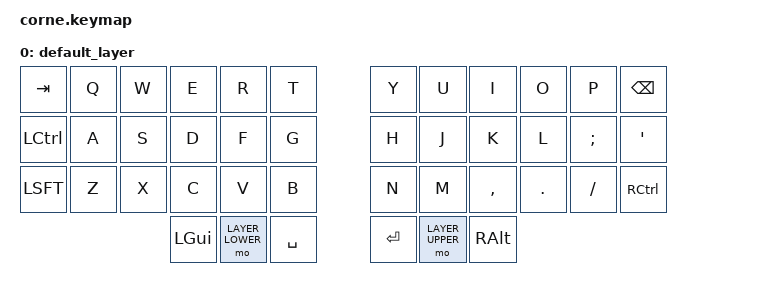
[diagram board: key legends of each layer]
#define DEFAULT 0
#define LAYER_LOWER 1
#define LAYER_UPPER 2

#include <behaviors.dtsi>
#include <dt-bindings/zmk/keys.h>

/ {
	keymap {
		compatible = "zmk,keymap";
// ---------------------------------------------------------------------------------------------------------------------------------
// |  TAB  |  Q  |  W  |  E   |  R   |  T   |   	|  Y   |  U   |  I    |  O   |   P   | BKSP |
// |  CTRL |  A  |  S  |  D   |  F   |  G   |   	|  H   |  J   |  K    |  L   |   ;   |   '  |
// | SHIFT |  Z  |  X  |  C   |  V   |  B   |   	|  N   |  M   |  ,    |  .   |   /   | CTRL |
//                     | GUI  |*lower| SPC  |   	| RET  |*raise| R-ALT |
		default_layer {

			bindings = <
	&kp TAB   &kp Q &kp W &kp E &kp R &kp T     &kp Y &kp U  &kp I    &kp O   &kp P    &kp BKSP
	&kp LCTL &kp A &kp S &kp D &kp F &kp G     &kp H &kp J  &kp K    &kp L   &kp SCLN &kp QUOT
	&kp LSFT  &kp Z &kp X &kp C &kp V &kp B     &kp N &kp M  &kp CMMA &kp DOT &kp FSLH &kp RCTL
	             &kp LGUI &mo LAYER_LOWER &kp SPC     &kp RET &mo LAYER_UPPER &kp RALT
			>;
		};
	};

		lower_layer {
// ---------------------------------------------------------------------------------------------------------------------------------
// |  ESC  |  1  |  2  |  3   |  4   |  5   |   	|  6   |  7    |  8    |  9   |   0   | BKSP |
// |  CTRL |     |     |      |      |      |   	| LEFT | DOWN  |  UP   |RIGHT |       |      |
// | SHIFT |     |     |      |      |      |   	|      |       |       |      |       |      |
//                     | GUI  |      | SPC  |   	| RET  |       | R-ALT |
			bindings = <
	&kp TAB   &kp NUM_1 &kp NUM_2 &kp NUM_3 &kp NUM_4 &kp NUM_5        &kp NUM_6 &kp NUM_7 &kp NUM_8   &kp NUM_9  &kp NUM_0 &kp BKSP
	&kp LCTL &trans    &trans    &trans    &trans    &trans           &kp LARW  &kp DARW  &kp UARW    &kp RARW   &trans    &trans
	&kp LSFT  &trans    &trans    &trans    &trans    &trans           &trans    &trans    &trans      &trans     &trans    &trans
	                                  &kp LGUI &trans &kp SPC          &kp RET &trans &kp RALT
			>;
		};

		upper_layer {
// ---------------------------------------------------------------------------------------------------------------------------------
// |  TAB  |  !  |  @  |  #   |  $   |  %   |   	|  ^   |  &    |  *    |  (   |   )   | BKSP |
// |  CTRL |     |     |      |      |      |   	|  -   |  =    |  {    |  }   |   |   |   `  |
// | SHIFT |     |     |      |      |      |   	|  _   |  +    |  [    |  ]   |   \   |   ~  |
//                     | GUI  |      | SPC  |   	| RET  |       | R-ALT |
			bindings = <
	&kp TAB   &kp Q &kp W &kp E &kp R &kp T  &kp Y &kp U  &kp I    &kp O   &kp P    &kp BKSP
	&kp LCTL &kp A &kp S &kp D &kp F &kp G  &kp H &kp J  &kp K    &kp L   &kp SCLN &kp QUOT
	&kp LSFT  &kp Z &kp X &kp C &kp V &kp B  &kp N &kp M  &kp CMMA &kp DOT &kp FSLH &kp RCTL
	              &kp LGUI &trans &kp SPC  &kp RET &trans &kp RALT
			>;
		};
};
